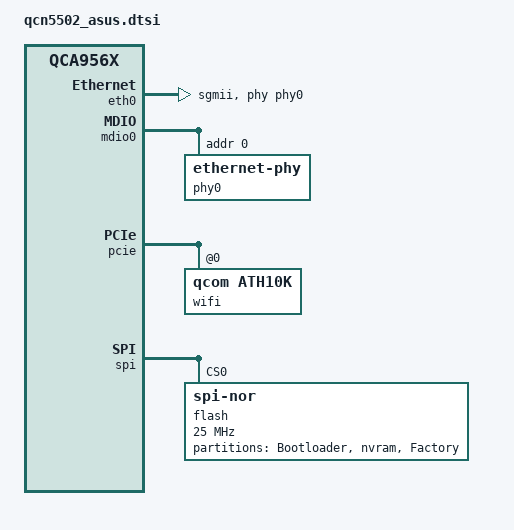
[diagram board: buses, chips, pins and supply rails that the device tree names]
// SPDX-License-Identifier: GPL-2.0-or-later OR MIT

#include "qca956x.dtsi"

#include <dt-bindings/gpio/gpio.h>
#include <dt-bindings/input/input.h>

/ {
	aliases {
		label-mac-device = &eth0;
	};
};

&eth0 {
	status = "okay";

	pll-data = <0x03000101 0x00000101 0x00001919>;

	phy-mode = "sgmii";
	phy-handle = <&phy0>;

	nvmem-cells = <&macaddr_factory_1002>;
	nvmem-cell-names = "mac-address";
};

&mdio0 {
	status = "okay";

	phy0: ethernet-phy@0 {
		reg = <0>;
		phy-mode = "sgmii";
		qca,mib-poll-interval = <500>;

		qca,ar8327-initvals = <
			0x04 0x80080080 /* PORT0 PAD MODE CTRL */
			0x08 0x00000000 /* PORT5 PAD MODE CTRL */
			0x0c 0x00000000 /* PORT6 PAD MODE CTRL */
			0x10 0x00000080 /* POWER_ON_STRAP */
			0x7c 0x0000007e /* PORT0_STATUS */
			0x94 0x00000200 /* PORT6_STATUS */
			>;
	};
};

&pcie {
	status = "okay";

	wifi@0,0 {
		compatible = "qcom,ath10k";
		reg = <0 0 0 0 0>;

		nvmem-cells = <&precal_factory_5000>;
		nvmem-cell-names = "pre-calibration";
	};
};

&spi {
	status = "okay";

	flash@0 {
		compatible = "jedec,spi-nor";
		reg = <0>;
		spi-max-frequency = <25000000>;
		m25p,fast-read;

		mtdparts: partitions {
			compatible = "fixed-partitions";
			#address-cells = <1>;
			#size-cells = <1>;

			partition@0 {
				label = "Bootloader";
				reg = <0x000000 0x040000>;
				read-only;
			};

			partition@40000 {
				label = "nvram";
				reg = <0x040000 0x010000>;
				read-only;
			};

			partition@50000 {
				label = "Factory";
				reg = <0x050000 0x010000>;
				read-only;

				nvmem-layout {
					compatible = "fixed-layout";
					#address-cells = <1>;
					#size-cells = <1>;

					cal_factory_1000: cal@1000 {
						reg = <0x1000 0x440>;
					};

					macaddr_factory_1002: macaddr@1002 {
						reg = <0x1002 0x6>;
					};

					precal_factory_5000: precal@5000 {
						reg = <0x5000 0x2f20>;
					};
				};
			};
		};
	};
};

&wmac {
	/* Does not work due to lack of QCN5502 support in ath9k. */
	status = "disabled";

	nvmem-cells = <&cal_factory_1000>;
	nvmem-cell-names = "calibration";
};
